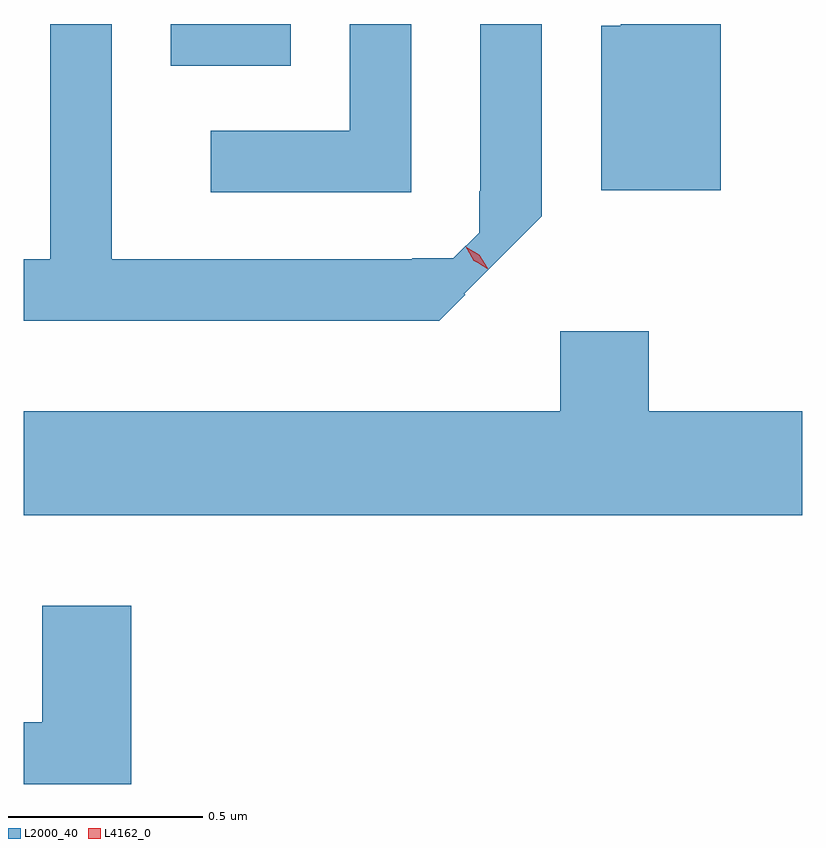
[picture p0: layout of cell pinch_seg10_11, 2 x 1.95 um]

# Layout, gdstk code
import gdstk
lib = gdstk.Library(unit=1e-6, precision=1e-09)
def R(c, l, rs):  # rectangles x0, y0, x1, y1
    for r in rs: c.add(gdstk.rectangle(r[:2], r[2:], *l))
def P(c, l, *ps):  # polygons
    for p in ps: c.add(gdstk.Polygon(p, *l))
L2000_40 = (2000, 40)
L4162_0 = (4162, 0)

pinch_seg10_11 = lib.new_cell('pinch_seg10_11')
R(pinch_seg10_11, L2000_40, [(829.031,2177.231,829.339,2177.338)])
P(pinch_seg10_11, L2000_40, [(829.649,2177.338),(829.491,2177.338),(829.491,2177.064),(829.133,2177.064),(829.133,2176.906),(829.649,2176.906)],
  [(829.787,2176.643),(829.785,2176.645),(829.984,2176.844),(829.984,2177.338),(829.826,2177.338),(829.826,2176.909),(829.823,2176.909),(829.823,2176.802),(829.757,2176.736),(829.651,2176.736),(829.651,2176.734),(828.879,2176.734),(828.879,2177.338),(828.721,2177.338),(828.721,2176.734),(828.653,2176.734),(828.653,2176.576),(829.72,2176.576)],
  [(830.444,2177.338),(830.186,2177.338),(830.186,2177.334),(830.136,2177.334),(830.136,2176.911),(830.444,2176.911)],
  [(830.653,2176.344),(830.259,2176.344),(830.259,2176.549),(830.031,2176.549),(830.031,2176.344),(828.653,2176.344),(828.653,2176.076),(830.653,2176.076)],
  [(828.929,2175.844),(828.701,2175.844),(828.701,2175.544),(828.653,2175.544),(828.653,2175.386),(828.929,2175.386)])
P(pinch_seg10_11, L4162_0, [(829.844,2176.71),(829.809,2176.731),(829.788,2176.766),(829.788,2176.766),(829.788,2176.766),(829.823,2176.745),(829.845,2176.711),(829.845,2176.71)],
  [(829.839,2176.714),(829.809,2176.73),(829.792,2176.76),(829.792,2176.761),(829.792,2176.761),(829.822,2176.745),(829.84,2176.715),(829.84,2176.714)])

lib.write_gds('pinch_seg10_11.gds')
